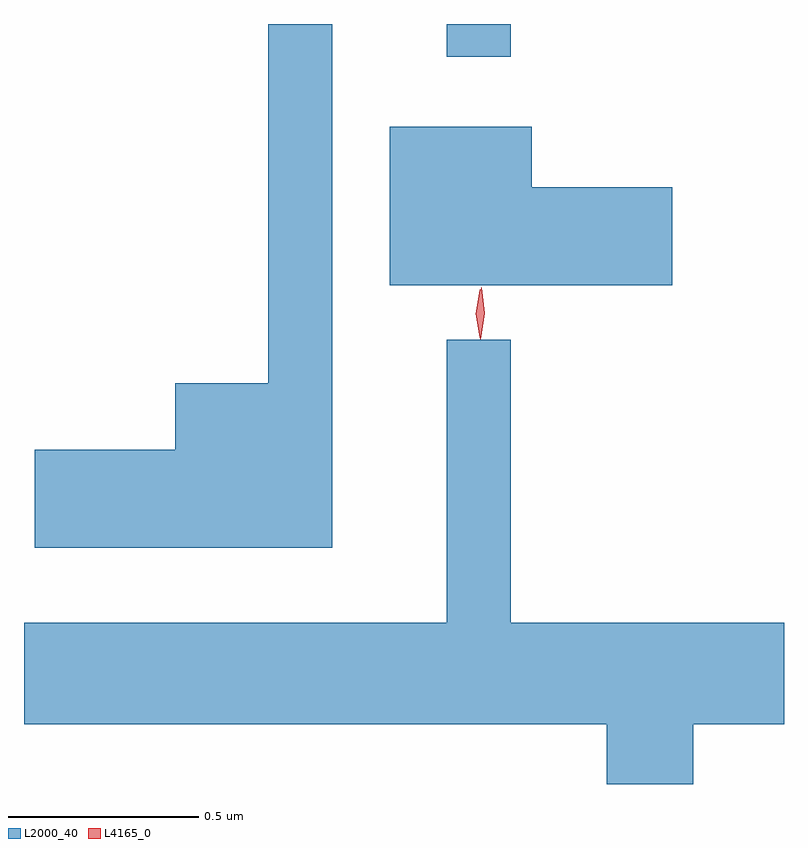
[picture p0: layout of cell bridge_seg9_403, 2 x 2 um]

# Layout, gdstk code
import gdstk
lib = gdstk.Library(unit=1e-6, precision=1e-09)
def R(c, l, rs):  # rectangles x0, y0, x1, y1
    for r in rs: c.add(gdstk.rectangle(r[:2], r[2:], *l))
def P(c, l, *ps):  # polygons
    for p in ps: c.add(gdstk.Polygon(p, *l))
L2000_40 = (2000, 40)
L4165_0 = (4165, 0)

bridge_seg9_403 = lib.new_cell('bridge_seg9_403')
R(bridge_seg9_403, L2000_40, [(983.761,1973.593,983.929,1973.679)])
P(bridge_seg9_403, L2000_40, [(983.459,1973.679),(983.291,1973.679),(983.291,1972.734),(983.046,1972.734),(983.046,1972.559),(982.676,1972.559),(982.676,1972.301),(983.459,1972.301)],
  [(984.354,1973.249),(983.984,1973.249),(983.984,1973.409),(983.611,1973.409),(983.611,1972.991),(984.354,1972.991)],
  [(984.409,1971.836),(984.648,1971.836),(984.648,1972.104),(983.929,1972.104),(983.929,1972.848),(983.761,1972.848),(983.761,1972.104),(982.648,1972.104),(982.648,1971.836),(984.181,1971.836),(984.181,1971.679),(984.409,1971.679)])
P(bridge_seg9_403, L4165_0, [(983.849,1972.85),(983.84,1972.918),(983.851,1972.985),(983.851,1972.986),(983.852,1972.985),(983.86,1972.918),(983.85,1972.85),(983.85,1972.85)],
  [(983.847,1972.853),(983.847,1972.853),(983.837,1972.916),(983.847,1972.98),(983.847,1972.98),(983.848,1972.98),(983.858,1972.916),(983.848,1972.853)])

lib.write_gds('bridge_seg9_403.gds')
